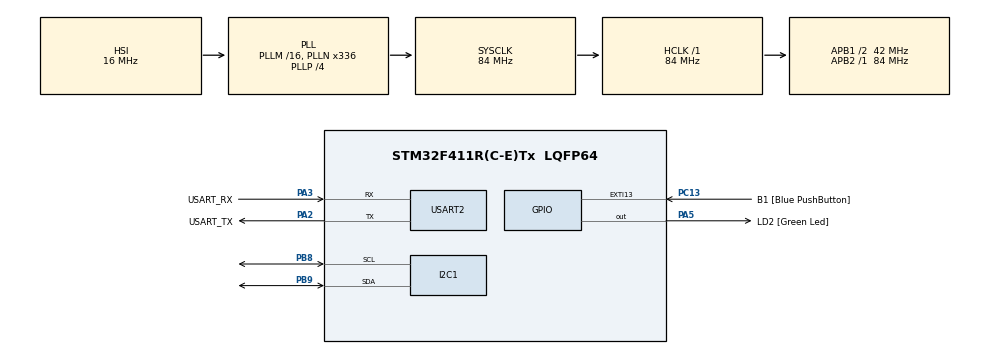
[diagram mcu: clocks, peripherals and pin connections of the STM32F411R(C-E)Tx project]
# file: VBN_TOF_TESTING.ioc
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I2C1.I2C_Mode=I2C_Fast
Mcu.Family=STM32F4
Mcu.Name=STM32F411R(C-E)Tx
Mcu.Package=LQFP64
NVIC.PriorityGroup=NVIC_PRIORITYGROUP_0
PA13.GPIO_Label=TMS
PA13.Mode=Serial_Wire
PA13.Signal=SYS_JTMS-SWDIO
PA14.GPIO_Label=TCK
PA14.Mode=Serial_Wire
PA14.Signal=SYS_JTCK-SWCLK
PA2.GPIO_Label=USART_TX
PA2.Mode=Asynchronous
PA2.Signal=USART2_TX
PA3.GPIO_Label=USART_RX
PA3.Mode=Asynchronous
PA3.Signal=USART2_RX
PA5.GPIO_Label=LD2 [Green Led]
PA5.Signal=GPIO_Output
PB3.GPIO_Label=SWO
PB3.Signal=SYS_JTDO-SWO
PB8.Mode=I2C
PB8.Signal=I2C1_SCL
PB9.Mode=I2C
PB9.Signal=I2C1_SDA
PC13-ANTI_TAMP.GPIO_Label=B1 [Blue PushButton]
PC13-ANTI_TAMP.GPIO_ModeDefaultEXTI=GPIO_MODE_IT_FALLING
PC13-ANTI_TAMP.Signal=GPXTI13
PC14-OSC32_IN.Mode=LSE-External-Oscillator
PC14-OSC32_IN.Signal=RCC_OSC32_IN
PC15-OSC32_OUT.Mode=LSE-External-Oscillator
PC15-OSC32_OUT.Signal=RCC_OSC32_OUT
PH0\ -\ OSC_IN.Mode=HSE-External-Clock-Source
PH0\ -\ OSC_IN.Signal=RCC_OSC_IN
PH1\ -\ OSC_OUT.Mode=HSE-External-Clock-Source
PH1\ -\ OSC_OUT.Signal=RCC_OSC_OUT
ProjectManager.HeapSize=0x200
ProjectManager.StackSize=0x400
ProjectManager.TargetToolchain=STM32CubeIDE
RCC.48MHZClocksFreq_Value=84000000
RCC.AHBFreq_Value=84000000
RCC.APB1CLKDivider=RCC_HCLK_DIV2
RCC.APB1Freq_Value=42000000
RCC.APB1TimFreq_Value=84000000
RCC.APB2Freq_Value=84000000
RCC.APB2TimFreq_Value=84000000
RCC.CortexFreq_Value=84000000
RCC.FLatency-AdvancedSettings=FLASH_LATENCY_2
RCC.HCLKFreq_Value=84000000
RCC.HSE_VALUE=8000000
RCC.HSI_VALUE=16000000
RCC.PLLN=336
RCC.PLLP=RCC_PLLP_DIV4
RCC.SYSCLKFreq_VALUE=84000000
RCC.SYSCLKSource=RCC_SYSCLKSOURCE_PLLCLK
RCC.VCOOutputFreq_Value=336000000
USART2.VirtualMode=VM_ASYNC
board=NUCLEO-F411RE

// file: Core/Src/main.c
/* USER CODE BEGIN Header */
/**
  ******************************************************************************
  * @file           : main.c
  * @brief          : Main program body
  ******************************************************************************
  * @attention
  *
  * Copyright (c) 2025 STMicroelectronics.
  * All rights reserved.
  *
  * This software is licensed under terms that can be found in the LICENSE file
  * in the root directory of this software component.
  * If no LICENSE file comes with this software, it is provided AS-IS.
  *
  ******************************************************************************
  */
/* USER CODE END Header */
#include "main.h"

/* USER CODE BEGIN Includes */
#include "vl53lx_api.h"
#include <stdio.h>
/* USER CODE END Includes */

I2C_HandleTypeDef hi2c1;

UART_HandleTypeDef huart2;

/* USER CODE BEGIN PV */
VL53LX_Dev_t vl53lx_dev;
VL53LX_MultiRangingData_t vl53lx_data;
VL53LX_Error vl53lx_status;
/* USER CODE END PV */

void SystemClock_Config(void);
static void MX_GPIO_Init(void);
static void MX_USART2_UART_Init(void);
static void MX_I2C1_Init(void);

/* USER CODE BEGIN 0 */
int __io_putchar(int ch)
{
  HAL_UART_Transmit(&huart2, (uint8_t *)&ch, 1, HAL_MAX_DELAY);
  return ch;
}
/* USER CODE END 0 */

int main(void)
{

  /* MCU Configuration--------------------------------------------------------*/

  /* Reset of all peripherals, Initializes the Flash interface and the Systick. */
  HAL_Init();

  /* Configure the system clock */
  SystemClock_Config();

  /* Initialize all configured peripherals */
  MX_GPIO_Init();
  MX_USART2_UART_Init();
  MX_I2C1_Init();
  /* USER CODE BEGIN 2 */
  vl53lx_dev.i2c_slave_address = 0x52;
  vl53lx_dev.comms_speed_khz = 400;
  vl53lx_dev.comms_type = 1;
  vl53lx_status = VL53LX_WaitDeviceBooted(&vl53lx_dev);
  vl53lx_status = VL53LX_DataInit(&vl53lx_dev);
  vl53lx_status = VL53LX_StartMeasurement(&vl53lx_dev);
  /* USER CODE END 2 */

  /* Infinite loop */
  while (1)
    {

      /* USER CODE BEGIN 3 */
        VL53LX_WaitMeasurementDataReady(&vl53lx_dev);
        VL53LX_GetMultiRangingData(&vl53lx_dev, &vl53lx_data);
        printf("Distance: %d mm\r\n", vl53lx_data.RangeData[0].RangeMilliMeter);
        VL53LX_ClearInterruptAndStartMeasurement(&vl53lx_dev);
        HAL_Delay(100);
      }
    /* USER CODE END 3 */

  /**
  * @brief System Clock Configuration
  * @retval None
  */
void SystemClock_Config(void)
{
  RCC_OscInitTypeDef RCC_OscInitStruct = {0};
  RCC_ClkInitTypeDef RCC_ClkInitStruct = {0};

  /** Configure the main internal regulator output voltage
  */
  __HAL_RCC_PWR_CLK_ENABLE();
  __HAL_PWR_VOLTAGESCALING_CONFIG(PWR_REGULATOR_VOLTAGE_SCALE1);

  /** Initializes the RCC Oscillators according to the specified parameters
  * in the RCC_OscInitTypeDef structure.
  */
  RCC_OscInitStruct.OscillatorType = RCC_OSCILLATORTYPE_HSI;
  RCC_OscInitStruct.HSIState = RCC_HSI_ON;
  RCC_OscInitStruct.HSICalibrationValue = RCC_HSICALIBRATION_DEFAULT;
  RCC_OscInitStruct.PLL.PLLState = RCC_PLL_ON;
  RCC_OscInitStruct.PLL.PLLSource = RCC_PLLSOURCE_HSI;
  RCC_OscInitStruct.PLL.PLLM = 16;
  RCC_OscInitStruct.PLL.PLLN = 336;
  RCC_OscInitStruct.PLL.PLLP = RCC_PLLP_DIV4;
  RCC_OscInitStruct.PLL.PLLQ = 4;
  if (HAL_RCC_OscConfig(&RCC_OscInitStruct) != HAL_OK)
  {
    Error_Handler();
  }

  /** Initializes the CPU, AHB and APB buses clocks
  */
  RCC_ClkInitStruct.ClockType = RCC_CLOCKTYPE_HCLK|RCC_CLOCKTYPE_SYSCLK
                              |RCC_CLOCKTYPE_PCLK1|RCC_CLOCKTYPE_PCLK2;
  RCC_ClkInitStruct.SYSCLKSource = RCC_SYSCLKSOURCE_PLLCLK;
  RCC_ClkInitStruct.AHBCLKDivider = RCC_SYSCLK_DIV1;
  RCC_ClkInitStruct.APB1CLKDivider = RCC_HCLK_DIV2;
  RCC_ClkInitStruct.APB2CLKDivider = RCC_HCLK_DIV1;

  if (HAL_RCC_ClockConfig(&RCC_ClkInitStruct, FLASH_LATENCY_2) != HAL_OK)
  {
    Error_Handler();
  }
}

static void MX_I2C1_Init(void)
{

  hi2c1.Instance = I2C1;
  hi2c1.Init.ClockSpeed = 400000;
  hi2c1.Init.DutyCycle = I2C_DUTYCYCLE_2;
  hi2c1.Init.OwnAddress1 = 0;
  hi2c1.Init.AddressingMode = I2C_ADDRESSINGMODE_7BIT;
  hi2c1.Init.DualAddressMode = I2C_DUALADDRESS_DISABLE;
  hi2c1.Init.OwnAddress2 = 0;
  hi2c1.Init.GeneralCallMode = I2C_GENERALCALL_DISABLE;
  hi2c1.Init.NoStretchMode = I2C_NOSTRETCH_DISABLE;
  if (HAL_I2C_Init(&hi2c1) != HAL_OK)
  {
    Error_Handler();
  }

}

static void MX_USART2_UART_Init(void)
{

  huart2.Instance = USART2;
  huart2.Init.BaudRate = 115200;
  huart2.Init.WordLength = UART_WORDLENGTH_8B;
  huart2.Init.StopBits = UART_STOPBITS_1;
  huart2.Init.Parity = UART_PARITY_NONE;
  huart2.Init.Mode = UART_MODE_TX_RX;
  huart2.Init.HwFlowCtl = UART_HWCONTROL_NONE;
  huart2.Init.OverSampling = UART_OVERSAMPLING_16;
  if (HAL_UART_Init(&huart2) != HAL_OK)
  {
    Error_Handler();
  }

}

static void MX_GPIO_Init(void)
{
  GPIO_InitTypeDef GPIO_InitStruct = {0};

  /* GPIO Ports Clock Enable */
  __HAL_RCC_GPIOC_CLK_ENABLE();
  __HAL_RCC_GPIOH_CLK_ENABLE();
  __HAL_RCC_GPIOA_CLK_ENABLE();
  __HAL_RCC_GPIOB_CLK_ENABLE();

  /*Configure GPIO pin Output Level */
  HAL_GPIO_WritePin(LD2_GPIO_Port, LD2_Pin, GPIO_PIN_RESET);

  /*Configure GPIO pin : B1_Pin */
  GPIO_InitStruct.Pin = B1_Pin;
  GPIO_InitStruct.Mode = GPIO_MODE_IT_FALLING;
  GPIO_InitStruct.Pull = GPIO_NOPULL;
  HAL_GPIO_Init(B1_GPIO_Port, &GPIO_InitStruct);

  /*Configure GPIO pin : LD2_Pin */
  GPIO_InitStruct.Pin = LD2_Pin;
  GPIO_InitStruct.Mode = GPIO_MODE_OUTPUT_PP;
  GPIO_InitStruct.Pull = GPIO_NOPULL;
  GPIO_InitStruct.Speed = GPIO_SPEED_FREQ_LOW;
  HAL_GPIO_Init(LD2_GPIO_Port, &GPIO_InitStruct);

}

void Error_Handler(void)
{
  __disable_irq();
  while (1)
  {
  }
}
